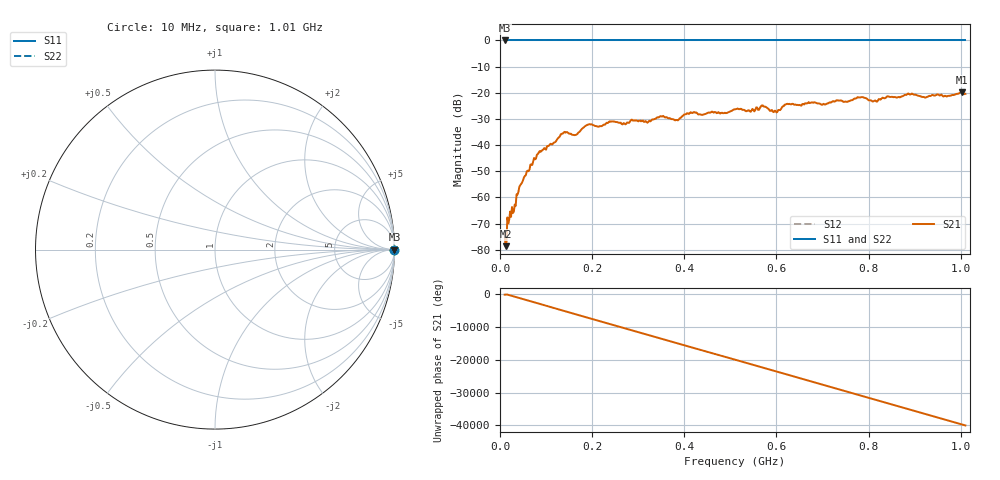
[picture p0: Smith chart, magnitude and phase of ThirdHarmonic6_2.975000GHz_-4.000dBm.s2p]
! 8/17/2025 8:25:59 AM
! C:\ANRITSUVNA\TEMP\TEMP.S2P
! CHANNEL.1
! TR.MEASUREMENT
! RAW.DATA
! RF.CORRECTION.OFF
! AVERAGING.OFF
! IF.BANDWIDTH: 5KHZ
! SWEEPTYPE:  FREQ.SWEEP(Linear)
! Reference Plane Port Info
! PORT:  PORT1  PORT2
! DISTANCE:  0  m  0  m
! TIME:  0  s  0  s
! PHASE.OFFSET:  0  deg.  0  deg.
! LOSS:  0  dB  0  dB
! REF.LOSS:  0  dB  0  dB
! REF.FREQ:  0  Hz  0  Hz
! Power Info
! POWER:  -20  dBm  -20  dBm
! EFF.POWER:  -20  dBm  -20  dBm
! SOURCE.ATTEN:  0  dB  0  dB
! TEST.ATTEN:  0  dB  0  dB
# GHZ S RI R 50.0
! FREQ.GHZ  S11RE  S11IM  S21RE  S21IM  S12RE  S12IM  S22RE  S22IM
!; PortSelection: Port_12
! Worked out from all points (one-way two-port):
!   501 points, 10 MHz to 1.01 GHz, reference 50 ohm
!   highest |S21| = -19.85 dB at 1.002 GHz (marker M1); lowest = -78.6 dB at 12 MHz (marker M2)
!   lowest |S11| = 0.0 dB at 10 MHz (marker M3)
!   |S11| at or under -10 dB: nowhere
!   |S22| runs from 0.0 to 0.0 dB; largest |S21 - S12| = 1.1
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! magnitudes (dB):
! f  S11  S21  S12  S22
! 10 MHz  0.0  -73.3  0.0  0.0
! 12 MHz  0.0  -78.6  0.0  0.0
! 16 MHz  0.0  -67.6  0.0  0.0
! 20 MHz  0.0  -68.4  0.0  0.0
! 32 MHz  0.0  -62.7  0.0  0.0
! 46 MHz  0.0  -54.9  0.0  0.0
! 84 MHz  0.0  -42.9  0.0  0.0
! 136 MHz  0.0  -35.6  0.0  0.0
! 164 MHz  0.0  -36.1  0.0  0.0
! 178 MHz  0.0  -33.7  0.0  0.0
! 344 MHz  0.0  -29.5  0.0  0.0
! 384 MHz  0.0  -30.4  0.0  0.0
! 416 MHz  0.0  -27.7  0.0  0.0
! 510 MHz  0.0  -26.3  0.0  0.0
! 572 MHz  0.0  -25.2  0.0  0.0
! 598 MHz  0.0  -26.9  0.0  0.0
! 622 MHz  0.0  -24.3  0.0  0.0
! 678 MHz  0.0  -23.7  0.0  0.0
! 814 MHz  0.0  -22.9  0.0  0.0
! 844 MHz  0.0  -21.5  0.0  0.0
! 1.002 GHz  0.0  -19.8  0.0  0.0
! 1.01 GHz  0.0  -20.4  0.0  0.0
